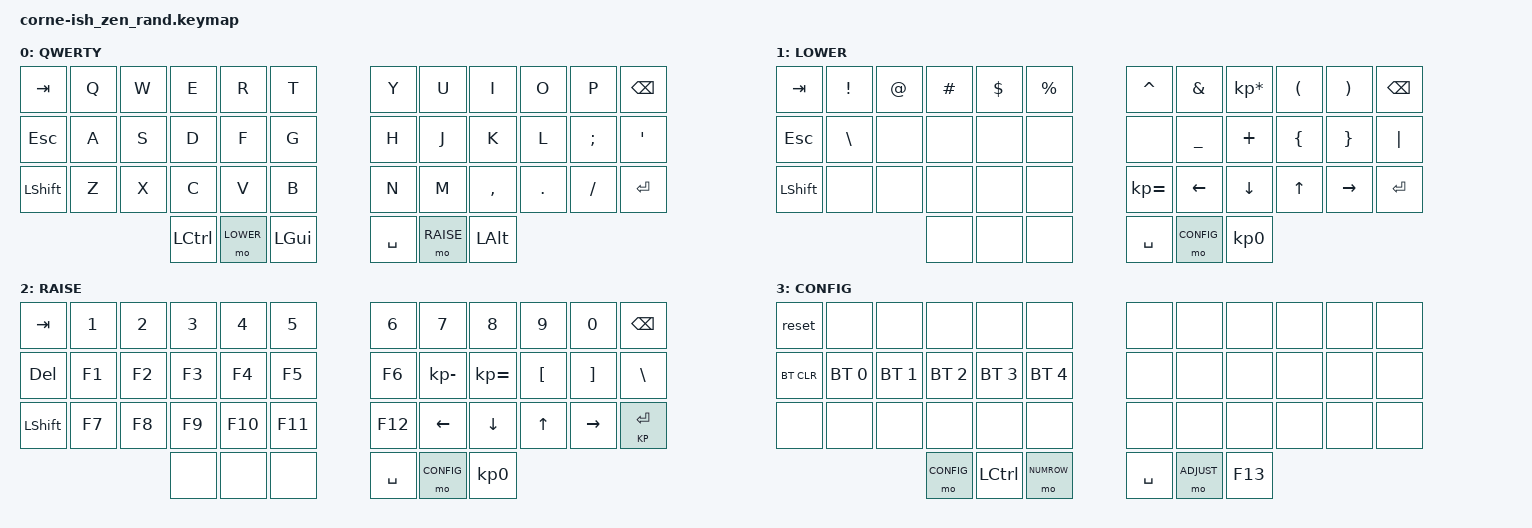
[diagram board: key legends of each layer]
/*
*
* Copyright (c) 2021 l2and
* SPDX-License-Identifier: MIT
*
*/
#include <behaviors.dtsi>
#include <dt-bindings/zmk/keys.h>
#include <dt-bindings/zmk/bt.h>

#define QWERTY 0
#define LOWER 1
#define RAISE 2
#define CONFIG 3


/ {
        keymap {
                compatible = "zmk,keymap";

                default_layer {
                        label = "QWERTY";
                        bindings = <
   &kp TAB   &kp Q       &kp W      &kp E      &kp R      &kp T        &kp Y   &kp U      &kp I        &kp O      &kp P          &kp BKSP
   &kp ESC   &kp A 		 &kp S      &kp D      &kp F      &kp G   	   &kp H   &kp J      &kp K 	   &kp L 	  &kp SEMI		 &kp SQT
   &kp LSHFT &kp Z       &kp X      &kp C      &kp V      &kp B        &kp N   &kp M      &kp COMMA    &kp DOT    &kp FSLH  	 &kp ENTER
                                    &kp LCTRL  &mo LOWER  &kp LGUI     &kp SPC &mo RAISE  &kp LALT
                        >;
                };

                lower_layer {
                        label = "LOWER";
                        bindings = <
   &kp  TAB  &kp EXCL &kp AT &kp HASH &kp DLLR &kp PRCNT   &kp CARET &kp AMPS  &kp KP_MULTIPLY &kp LPAR &kp RPAR &kp BSPC
   &kp  ESC  &kp BSLH &none  &none    &none    &none       &none	 &kp UNDER &kp PLUS 	   &kp LBRC &kp RBRC &kp PIPE
   &kp  LSHFT &none   &none  &none    &none    &none       &kp KP_EQUAL    &kp LEFT     &kp DOWN    &kp UP   &kp RIGHT &kp ENTER
                        &none    &none         &none           &kp SPC         &mo CONFIG   &kp KP_N0
                        >;
                };

                raise_layer {
                        label = "RAISE";
                        bindings = <
   &kp TAB    &kp N1    &kp N2    &kp N3  &kp N4    &kp N5    &kp N6   &kp N7   	&kp N8 		 &kp N9    &kp N0 	&kp BSPC
   &kp DEL    &kp F1 	&kp F2 	  &kp F3  &kp F4 	&kp F5    &kp F6   &kp KP_MINUS &kp KP_EQUAL &kp LBKT  &kp RBKT &kp BSLH
   &kp LSHFT  &kp F7    &kp F8    &kp F9  &kp F10   &kp F11   &kp F12  &kp LEFT     &kp DOWN    &kp UP      &kp RIGHT       &KP ENTER
                        &none    &none         &none           &kp SPC         &mo CONFIG   &kp KP_N0
                        >;
                };

                config_layer {
                        label = "CONFIG";
                        bindings = <
   &reset     &none        &none        &none        &none        &none           &none &none &none &none &none &none 
   &bt BT_CLR &bt BT_SEL 0 &bt BT_SEL 1 &bt BT_SEL 2 &bt BT_SEL 3 &bt BT_SEL 4    &none &none &none &none &none &none
   &none      &none        &none        &none        &none        &none           &none &none &none &none &none &none
                                                &mo CONFIG &kp LCTL &mo NUMROW    &kp SPC &mo ADJUST &kp F13
                        >;
                };
        };
};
